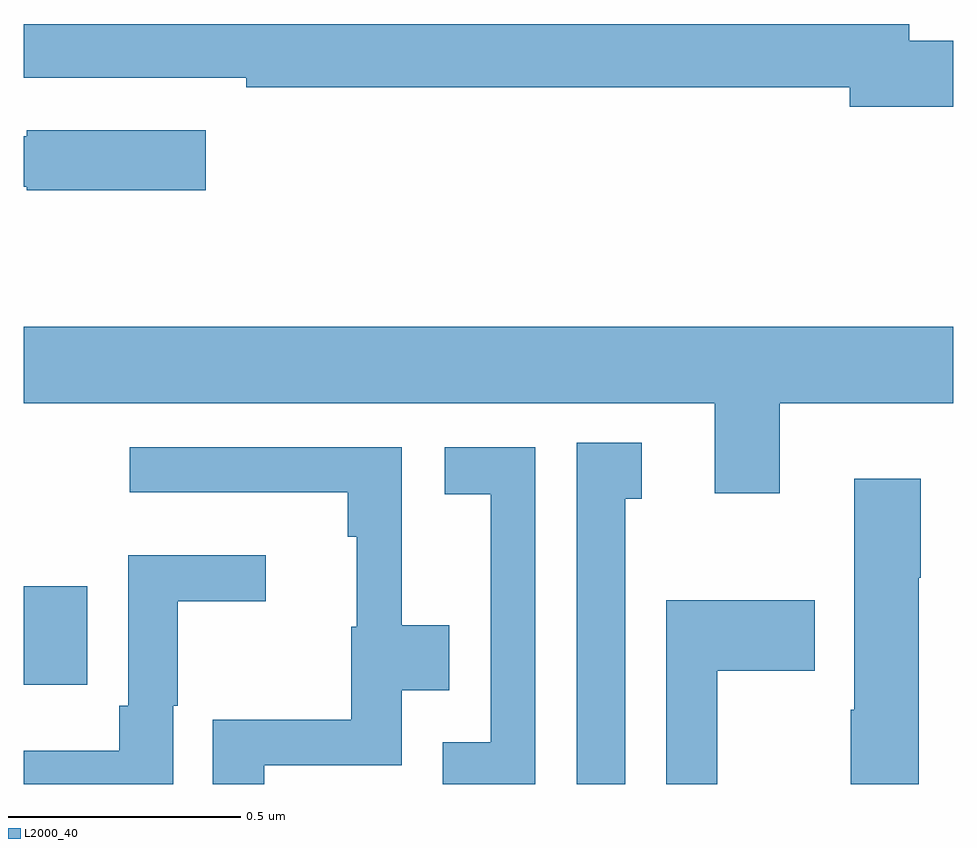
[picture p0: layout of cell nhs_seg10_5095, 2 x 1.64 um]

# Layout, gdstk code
import gdstk
lib = gdstk.Library(unit=1e-6, precision=1e-09)
def R(c, l, rs):  # rectangles x0, y0, x1, y1
    for r in rs: c.add(gdstk.rectangle(r[:2], r[2:], *l))
def P(c, l, *ps):  # polygons
    for p in ps: c.add(gdstk.Polygon(p, *l))
L2000_40 = (2000, 40)

nhs_seg10_5095 = lib.new_cell('nhs_seg10_5095')
R(nhs_seg10_5095, L2000_40, [(174,1295.714,174.136,1295.926)])
P(nhs_seg10_5095, L2000_40, [(176,1297.1),(175.906,1297.1),(175.906,1297.136),(174,1297.136),(174,1297.02),(174.478,1297.02),(174.478,1297),(175.778,1297),(175.778,1296.958),(176,1296.958)],
  [(174.391,1296.907),(174.006,1296.907),(174.006,1296.894),(174,1296.894),(174,1296.786),(174.006,1296.786),(174.006,1296.778),(174.391,1296.778)],
  [(175.627,1296.32),(176,1296.32),(176,1296.484),(174,1296.484),(174,1296.32),(175.487,1296.32),(175.487,1296.126),(175.627,1296.126)],
  [(175.294,1296.114),(175.33,1296.114),(175.33,1296.235),(175.19,1296.235),(175.19,1295.5),(175.294,1295.5)],
  [(174.517,1295.54),(174.813,1295.54),(174.813,1295.702),(174.916,1295.702),(174.916,1295.842),(174.813,1295.842),(174.813,1296.225),(174.228,1296.225),(174.228,1296.128),(174.697,1296.128),(174.697,1296.032),(174.716,1296.032),(174.716,1295.838),(174.705,1295.838),(174.705,1295.638),(174.406,1295.638),(174.406,1295.5),(174.517,1295.5)],
  [(175.101,1296.225),(174.906,1296.225),(174.906,1296.124),(175.005,1296.124),(175.005,1295.59),(174.902,1295.59),(174.902,1295.5),(175.101,1295.5)],
  [(175.926,1295.944),(175.931,1295.944),(175.931,1296.157),(175.787,1296.157),(175.787,1295.66),(175.78,1295.66),(175.78,1295.5),(175.926,1295.5)],
  [(174.321,1295.668),(174.331,1295.668),(174.331,1295.893),(174.52,1295.893),(174.52,1295.992),(174.225,1295.992),(174.225,1295.668),(174.205,1295.668),(174.205,1295.572),(174,1295.572),(174,1295.5),(174.321,1295.5)],
  [(175.492,1295.744),(175.702,1295.744),(175.702,1295.896),(175.383,1295.896),(175.383,1295.5),(175.492,1295.5)])

lib.write_gds('nhs_seg10_5095.gds')
